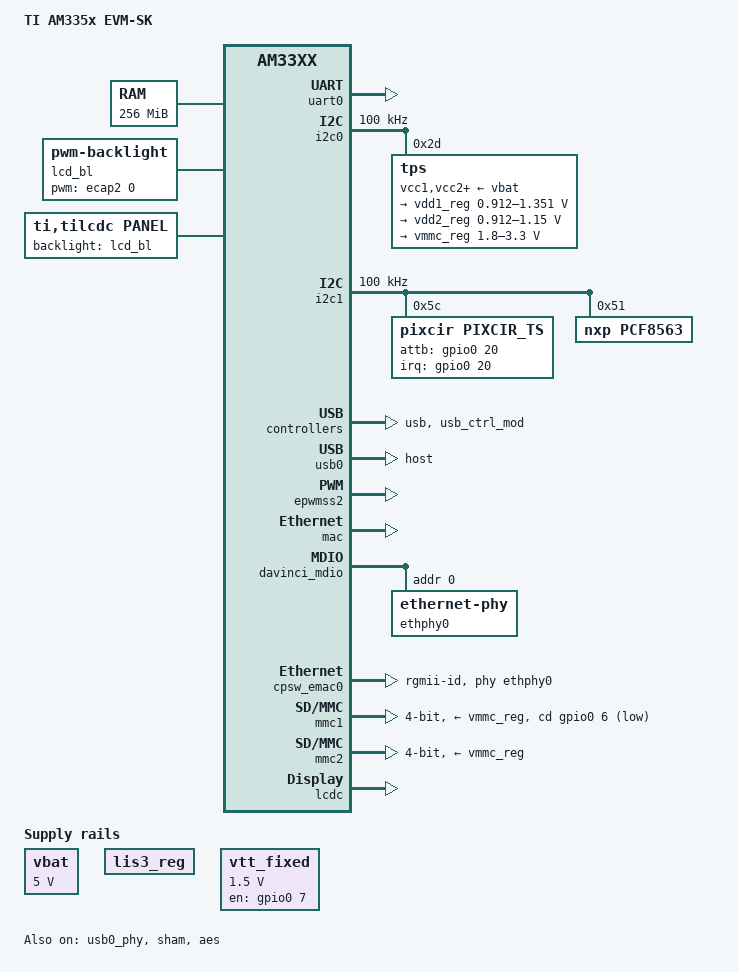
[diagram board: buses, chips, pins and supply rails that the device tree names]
// SPDX-License-Identifier: GPL-2.0-only
/*
 * Copyright (C) 2012 Texas Instruments Incorporated - http://www.ti.com/
 */

/*
 * AM335x Starter Kit
 * http://www.ti.com/tool/tmdssk3358
 */

/dts-v1/;

#include "am33xx.dtsi"
#include <dt-bindings/pwm/pwm.h>
#include <dt-bindings/interrupt-controller/irq.h>

/ {
	model = "TI AM335x EVM-SK";
	compatible = "ti,am335x-lierda", "ti,am33xx";

	cpus {
		cpu@0 {
			cpu0-supply = <&vdd1_reg>;
		};
	};

	memory@80000000 {
		device_type = "memory";
		reg = <0x80000000 0x10000000>; /* 256 MB */
	};

	chosen {
		stdout-path = &uart0;
	};

	vbat: fixedregulator0 {
		compatible = "regulator-fixed";
		regulator-name = "vbat";
		regulator-min-microvolt = <5000000>;
		regulator-max-microvolt = <5000000>;
		regulator-boot-on;
	};

	lis3_reg: fixedregulator1 {
		compatible = "regulator-fixed";
		regulator-name = "lis3_reg";
		regulator-boot-on;
	};

	vtt_fixed: fixedregulator3 {
		compatible = "regulator-fixed";
		regulator-name = "vtt";
		regulator-min-microvolt = <1500000>;
		regulator-max-microvolt = <1500000>;
		gpio = <&gpio0 7 GPIO_ACTIVE_HIGH>;
		regulator-always-on;
		regulator-boot-on;
		enable-active-high;
	};

	lcd_bl: backlight {
		compatible = "pwm-backlight";
		pwms = <&ecap2 0 50000 0>;
		brightness-levels = <0 51 53 56 62 75 101 152 255>;
		default-brightness-level = <8>;
	};

	// sound {
	// 	compatible = "simple-audio-card";
	// 	simple-audio-card,name = "AM335x-EVMSK";
	// 	simple-audio-card,widgets =
	// 		"Headphone", "Headphone Jack";
	// 	simple-audio-card,routing =
	// 		"Headphone Jack",	"HPLOUT",
	// 		"Headphone Jack",	"HPROUT";
	// 	simple-audio-card,format = "dsp_b";
	// 	simple-audio-card,bitclock-master = <&sound_master>;
	// 	simple-audio-card,frame-master = <&sound_master>;
	// 	simple-audio-card,bitclock-inversion;

	// 	simple-audio-card,cpu {
	// 		sound-dai = <&mcasp1>;
	// 	};

	// 	sound_master: simple-audio-card,codec {
	// 		sound-dai = <&tlv320aic3106>;
	// 		system-clock-frequency = <24000000>;
	// 	};
	// };

	panel {
		compatible = "ti,tilcdc,panel";
		pinctrl-names = "default", "sleep";
		pinctrl-0 = <&lcd_pins_default>;
		pinctrl-1 = <&lcd_pins_sleep>;
		backlight = <&lcd_bl>;
		status = "okay";
		panel-info {
			ac-bias		= <255>;
			ac-bias-intrpt	= <0>;
			dma-burst-sz	= <16>;
			bpp		= <24>;
			fdd		= <0x80>;
			sync-edge	= <0>;
			sync-ctrl	= <1>;
			raster-order	= <0>;
			fifo-th		= <0>;
		};
		display-timings {
			800x480 {
				clock-frequency = <30000000>;
				hactive = <800>;
				vactive = <480>;
				hfront-porch = <39>;
				hback-porch = <39>;
				hsync-len = <47>;
				vback-porch = <29>;
				vfront-porch = <13>;
				vsync-len = <2>;
				hsync-active = <1>;
				vsync-active = <1>;
			};
		};
	};
};

&am33xx_pinmux {
	// pinctrl-names = "default";
	// pinctrl-0 = <&clkout2_pin>;

	lcd_pins_default: lcd_pins_default {
		pinctrl-single,pins = <
			AM33XX_PADCONF(AM335X_PIN_GPMC_AD8, PIN_OUTPUT, MUX_MODE1)	/* gpmc_ad8.lcd_data23 */
			AM33XX_PADCONF(AM335X_PIN_GPMC_AD9, PIN_OUTPUT, MUX_MODE1)	/* gpmc_ad9.lcd_data22 */
			AM33XX_PADCONF(AM335X_PIN_GPMC_AD10, PIN_OUTPUT, MUX_MODE1)	/* gpmc_ad10.lcd_data21 */
			AM33XX_PADCONF(AM335X_PIN_GPMC_AD11, PIN_OUTPUT, MUX_MODE1)	/* gpmc_ad11.lcd_data20 */
			AM33XX_PADCONF(AM335X_PIN_GPMC_AD12, PIN_OUTPUT, MUX_MODE1)	/* gpmc_ad12.lcd_data19 */
			AM33XX_PADCONF(AM335X_PIN_GPMC_AD13, PIN_OUTPUT, MUX_MODE1)	/* gpmc_ad13.lcd_data18 */
			AM33XX_PADCONF(AM335X_PIN_GPMC_AD14, PIN_OUTPUT, MUX_MODE1)	/* gpmc_ad14.lcd_data17 */
			AM33XX_PADCONF(AM335X_PIN_GPMC_AD15, PIN_OUTPUT, MUX_MODE1)	/* gpmc_ad15.lcd_data16 */
			AM33XX_PADCONF(AM335X_PIN_LCD_DATA0, PIN_OUTPUT, MUX_MODE0)
			AM33XX_PADCONF(AM335X_PIN_LCD_DATA1, PIN_OUTPUT, MUX_MODE0)
			AM33XX_PADCONF(AM335X_PIN_LCD_DATA2, PIN_OUTPUT, MUX_MODE0)
			AM33XX_PADCONF(AM335X_PIN_LCD_DATA3, PIN_OUTPUT, MUX_MODE0)
			AM33XX_PADCONF(AM335X_PIN_LCD_DATA4, PIN_OUTPUT, MUX_MODE0)
			AM33XX_PADCONF(AM335X_PIN_LCD_DATA5, PIN_OUTPUT, MUX_MODE0)
			AM33XX_PADCONF(AM335X_PIN_LCD_DATA6, PIN_OUTPUT, MUX_MODE0)
			AM33XX_PADCONF(AM335X_PIN_LCD_DATA7, PIN_OUTPUT, MUX_MODE0)
			AM33XX_PADCONF(AM335X_PIN_LCD_DATA8, PIN_OUTPUT, MUX_MODE0)
			AM33XX_PADCONF(AM335X_PIN_LCD_DATA9, PIN_OUTPUT, MUX_MODE0)
			AM33XX_PADCONF(AM335X_PIN_LCD_DATA10, PIN_OUTPUT, MUX_MODE0)
			AM33XX_PADCONF(AM335X_PIN_LCD_DATA11, PIN_OUTPUT, MUX_MODE0)
			AM33XX_PADCONF(AM335X_PIN_LCD_DATA12, PIN_OUTPUT, MUX_MODE0)
			AM33XX_PADCONF(AM335X_PIN_LCD_DATA13, PIN_OUTPUT, MUX_MODE0)
			AM33XX_PADCONF(AM335X_PIN_LCD_DATA14, PIN_OUTPUT, MUX_MODE0)
			AM33XX_PADCONF(AM335X_PIN_LCD_DATA15, PIN_OUTPUT, MUX_MODE0)
			AM33XX_PADCONF(AM335X_PIN_LCD_VSYNC, PIN_OUTPUT, MUX_MODE0)
			AM33XX_PADCONF(AM335X_PIN_LCD_HSYNC, PIN_OUTPUT, MUX_MODE0)
			AM33XX_PADCONF(AM335X_PIN_LCD_PCLK, PIN_OUTPUT, MUX_MODE0)
			AM33XX_PADCONF(AM335X_PIN_LCD_AC_BIAS_EN, PIN_OUTPUT, MUX_MODE0)
		>;
	};

	lcd_pins_sleep: lcd_pins_sleep {
		pinctrl-single,pins = <
			AM33XX_PADCONF(AM335X_PIN_GPMC_AD8, PIN_INPUT_PULLDOWN, MUX_MODE7)	/* gpmc_ad8.lcd_data23 */
			AM33XX_PADCONF(AM335X_PIN_GPMC_AD9, PIN_INPUT_PULLDOWN, MUX_MODE7)	/* gpmc_ad9.lcd_data22 */
			AM33XX_PADCONF(AM335X_PIN_GPMC_AD10, PIN_INPUT_PULLDOWN, MUX_MODE7)	/* gpmc_ad10.lcd_data21 */
			AM33XX_PADCONF(AM335X_PIN_GPMC_AD11, PIN_INPUT_PULLDOWN, MUX_MODE7)	/* gpmc_ad11.lcd_data20 */
			AM33XX_PADCONF(AM335X_PIN_GPMC_AD12, PIN_INPUT_PULLDOWN, MUX_MODE7)	/* gpmc_ad12.lcd_data19 */
			AM33XX_PADCONF(AM335X_PIN_GPMC_AD13, PIN_INPUT_PULLDOWN, MUX_MODE7)	/* gpmc_ad13.lcd_data18 */
			AM33XX_PADCONF(AM335X_PIN_GPMC_AD14, PIN_INPUT_PULLDOWN, MUX_MODE7)	/* gpmc_ad14.lcd_data17 */
			AM33XX_PADCONF(AM335X_PIN_GPMC_AD15, PIN_INPUT_PULLDOWN, MUX_MODE7)	/* gpmc_ad15.lcd_data16 */
			AM33XX_PADCONF(AM335X_PIN_LCD_DATA0, PULL_DISABLE, MUX_MODE7)
			AM33XX_PADCONF(AM335X_PIN_LCD_DATA1, PULL_DISABLE, MUX_MODE7)
			AM33XX_PADCONF(AM335X_PIN_LCD_DATA2, PULL_DISABLE, MUX_MODE7)
			AM33XX_PADCONF(AM335X_PIN_LCD_DATA3, PULL_DISABLE, MUX_MODE7)
			AM33XX_PADCONF(AM335X_PIN_LCD_DATA4, PULL_DISABLE, MUX_MODE7)
			AM33XX_PADCONF(AM335X_PIN_LCD_DATA5, PULL_DISABLE, MUX_MODE7)
			AM33XX_PADCONF(AM335X_PIN_LCD_DATA6, PULL_DISABLE, MUX_MODE7)
			AM33XX_PADCONF(AM335X_PIN_LCD_DATA7, PULL_DISABLE, MUX_MODE7)
			AM33XX_PADCONF(AM335X_PIN_LCD_DATA8, PULL_DISABLE, MUX_MODE7)
			AM33XX_PADCONF(AM335X_PIN_LCD_DATA9, PULL_DISABLE, MUX_MODE7)
			AM33XX_PADCONF(AM335X_PIN_LCD_DATA10, PULL_DISABLE, MUX_MODE7)
			AM33XX_PADCONF(AM335X_PIN_LCD_DATA11, PULL_DISABLE, MUX_MODE7)
			AM33XX_PADCONF(AM335X_PIN_LCD_DATA12, PULL_DISABLE, MUX_MODE7)
			AM33XX_PADCONF(AM335X_PIN_LCD_DATA13, PULL_DISABLE, MUX_MODE7)
			AM33XX_PADCONF(AM335X_PIN_LCD_DATA14, PULL_DISABLE, MUX_MODE7)
			AM33XX_PADCONF(AM335X_PIN_LCD_DATA15, PULL_DISABLE, MUX_MODE7)
			AM33XX_PADCONF(AM335X_PIN_LCD_VSYNC, PIN_INPUT_PULLDOWN, MUX_MODE7)
			AM33XX_PADCONF(AM335X_PIN_LCD_HSYNC, PIN_INPUT_PULLDOWN, MUX_MODE7)
			AM33XX_PADCONF(AM335X_PIN_LCD_PCLK, PIN_INPUT_PULLDOWN, MUX_MODE7)
			AM33XX_PADCONF(AM335X_PIN_LCD_AC_BIAS_EN, PIN_INPUT_PULLDOWN, MUX_MODE7)
		>;
	};

	i2c0_pins: pinmux_i2c0_pins {
		pinctrl-single,pins = <
			AM33XX_PADCONF(AM335X_PIN_I2C0_SDA, PIN_INPUT_PULLUP, MUX_MODE0)
			AM33XX_PADCONF(AM335X_PIN_I2C0_SCL, PIN_INPUT_PULLUP, MUX_MODE0)
		>;
	};

	uart0_pins: pinmux_uart0_pins {
		pinctrl-single,pins = <
			AM33XX_PADCONF(AM335X_PIN_UART0_RXD, PIN_INPUT_PULLUP, MUX_MODE0)
			AM33XX_PADCONF(AM335X_PIN_UART0_TXD, PIN_OUTPUT_PULLDOWN, MUX_MODE0)
		>;
	};

	ecap2_pins: backlight_pins {
		pinctrl-single,pins = <
			AM33XX_PADCONF(AM335X_PIN_MCASP0_AHCLKR, 0x0, MUX_MODE4)	/* mcasp0_ahclkr.ecap2_in_pwm2_out */
		>;
	};

	cpsw_default: cpsw_default {
		pinctrl-single,pins = <
			/* Slave 1 */
			AM33XX_PADCONF(AM335X_PIN_MII1_TX_EN, PIN_OUTPUT_PULLDOWN, MUX_MODE2)	/* mii1_txen.rgmii1_tctl */
			AM33XX_PADCONF(AM335X_PIN_MII1_RX_DV, PIN_INPUT_PULLDOWN, MUX_MODE2)	/* mii1_rxdv.rgmii1_rctl */
			AM33XX_PADCONF(AM335X_PIN_MII1_TXD3, PIN_OUTPUT_PULLDOWN, MUX_MODE2)	/* mii1_txd3.rgmii1_td3 */
			AM33XX_PADCONF(AM335X_PIN_MII1_TXD2, PIN_OUTPUT_PULLDOWN, MUX_MODE2)	/* mii1_txd2.rgmii1_td2 */
			AM33XX_PADCONF(AM335X_PIN_MII1_TXD1, PIN_OUTPUT_PULLDOWN, MUX_MODE2)	/* mii1_txd1.rgmii1_td1 */
			AM33XX_PADCONF(AM335X_PIN_MII1_TXD0, PIN_OUTPUT_PULLDOWN, MUX_MODE2)	/* mii1_txd0.rgmii1_td0 */
			AM33XX_PADCONF(AM335X_PIN_MII1_TX_CLK, PIN_OUTPUT_PULLDOWN, MUX_MODE2)	/* mii1_txclk.rgmii1_tclk */
			AM33XX_PADCONF(AM335X_PIN_MII1_RX_CLK, PIN_INPUT_PULLDOWN, MUX_MODE2)	/* mii1_rxclk.rgmii1_rclk */
			AM33XX_PADCONF(AM335X_PIN_MII1_RXD3, PIN_INPUT_PULLDOWN, MUX_MODE2)	/* mii1_rxd3.rgmii1_rd3 */
			AM33XX_PADCONF(AM335X_PIN_MII1_RXD2, PIN_INPUT_PULLDOWN, MUX_MODE2)	/* mii1_rxd2.rgmii1_rd2 */
			AM33XX_PADCONF(AM335X_PIN_MII1_RXD1, PIN_INPUT_PULLDOWN, MUX_MODE2)	/* mii1_rxd1.rgmii1_rd1 */
			AM33XX_PADCONF(AM335X_PIN_MII1_RXD0, PIN_INPUT_PULLDOWN, MUX_MODE2)	/* mii1_rxd0.rgmii1_rd0 */
		>;
	};

	cpsw_sleep: cpsw_sleep {
		pinctrl-single,pins = <
			/* Slave 1 reset value */
			AM33XX_PADCONF(AM335X_PIN_MII1_TX_EN, PIN_INPUT_PULLDOWN, MUX_MODE7)
			AM33XX_PADCONF(AM335X_PIN_MII1_RX_DV, PIN_INPUT_PULLDOWN, MUX_MODE7)
			AM33XX_PADCONF(AM335X_PIN_MII1_TXD3, PIN_INPUT_PULLDOWN, MUX_MODE7)
			AM33XX_PADCONF(AM335X_PIN_MII1_TXD2, PIN_INPUT_PULLDOWN, MUX_MODE7)
			AM33XX_PADCONF(AM335X_PIN_MII1_TXD1, PIN_INPUT_PULLDOWN, MUX_MODE7)
			AM33XX_PADCONF(AM335X_PIN_MII1_TXD0, PIN_INPUT_PULLDOWN, MUX_MODE7)
			AM33XX_PADCONF(AM335X_PIN_MII1_TX_CLK, PIN_INPUT_PULLDOWN, MUX_MODE7)
			AM33XX_PADCONF(AM335X_PIN_MII1_RX_CLK, PIN_INPUT_PULLDOWN, MUX_MODE7)
			AM33XX_PADCONF(AM335X_PIN_MII1_RXD3, PIN_INPUT_PULLDOWN, MUX_MODE7)
			AM33XX_PADCONF(AM335X_PIN_MII1_RXD2, PIN_INPUT_PULLDOWN, MUX_MODE7)
			AM33XX_PADCONF(AM335X_PIN_MII1_RXD1, PIN_INPUT_PULLDOWN, MUX_MODE7)
			AM33XX_PADCONF(AM335X_PIN_MII1_RXD0, PIN_INPUT_PULLDOWN, MUX_MODE7)
		>;
	};

	davinci_mdio_default: davinci_mdio_default {
		pinctrl-single,pins = <
			/* MDIO */
			AM33XX_PADCONF(AM335X_PIN_MDIO, PIN_INPUT_PULLUP | SLEWCTRL_FAST, MUX_MODE0)
			AM33XX_PADCONF(AM335X_PIN_MDC, PIN_OUTPUT_PULLUP, MUX_MODE0)
		>;
	};

	davinci_mdio_sleep: davinci_mdio_sleep {
		pinctrl-single,pins = <
			/* MDIO reset value */
			AM33XX_PADCONF(AM335X_PIN_MDIO, PIN_INPUT_PULLDOWN, MUX_MODE7)
			AM33XX_PADCONF(AM335X_PIN_MDC, PIN_INPUT_PULLDOWN, MUX_MODE7)
		>;
	};

	mmc1_pins: pinmux_mmc1_pins {
		pinctrl-single,pins = <
			AM33XX_PADCONF(AM335X_PIN_SPI0_CS1, PIN_INPUT, MUX_MODE7) 		/* spi0_cs1.gpio0_6 */
			AM33XX_PADCONF(AM335X_PIN_MMC0_DAT0, PIN_INPUT_PULLUP, MUX_MODE0)
			AM33XX_PADCONF(AM335X_PIN_MMC0_DAT1, PIN_INPUT_PULLUP, MUX_MODE0)
			AM33XX_PADCONF(AM335X_PIN_MMC0_DAT2, PIN_INPUT_PULLUP, MUX_MODE0)
			AM33XX_PADCONF(AM335X_PIN_MMC0_DAT3, PIN_INPUT_PULLUP, MUX_MODE0)
			AM33XX_PADCONF(AM335X_PIN_MMC0_CMD, PIN_INPUT_PULLUP, MUX_MODE0)
			AM33XX_PADCONF(AM335X_PIN_MMC0_CLK, PIN_INPUT_PULLUP, MUX_MODE0)
			AM33XX_PADCONF(AM335X_PIN_MCASP0_ACLKR, PIN_INPUT, MUX_MODE4)		/* mcasp0_aclkr.mmc0_sdwp */
		>;
	};

	mcasp1_pins: mcasp1_pins {
		pinctrl-single,pins = <
			AM33XX_PADCONF(AM335X_PIN_MII1_CRS, PIN_INPUT_PULLDOWN, MUX_MODE4) /* mii1_crs.mcasp1_aclkx */
			AM33XX_PADCONF(AM335X_PIN_MII1_RX_ER, PIN_INPUT_PULLDOWN, MUX_MODE4) /* mii1_rxerr.mcasp1_fsx */
			AM33XX_PADCONF(AM335X_PIN_MII1_COL, PIN_OUTPUT_PULLDOWN, MUX_MODE4) /* mii1_col.mcasp1_axr2 */
			AM33XX_PADCONF(AM335X_PIN_RMII1_REF_CLK, PIN_INPUT_PULLDOWN, MUX_MODE4) /* rmii1_ref_clk.mcasp1_axr3 */
		>;
	};

	mcasp1_pins_sleep: mcasp1_pins_sleep {
		pinctrl-single,pins = <
			AM33XX_PADCONF(AM335X_PIN_MII1_CRS, PIN_INPUT_PULLDOWN, MUX_MODE7)
			AM33XX_PADCONF(AM335X_PIN_MII1_RX_ER, PIN_INPUT_PULLDOWN, MUX_MODE7)
			AM33XX_PADCONF(AM335X_PIN_MII1_COL, PIN_INPUT_PULLDOWN, MUX_MODE7)
			AM33XX_PADCONF(AM335X_PIN_RMII1_REF_CLK, PIN_INPUT_PULLDOWN, MUX_MODE7)
		>;
	};

	mmc2_pins: pinmux_mmc2_pins {
		pinctrl-single,pins = <
			AM33XX_PADCONF(AM335X_PIN_GPMC_WPN, PIN_INPUT_PULLUP, MUX_MODE7) /* gpmc_wpn.gpio0_31 */
			AM33XX_PADCONF(AM335X_PIN_GPMC_CSN1, PIN_INPUT_PULLUP, MUX_MODE2) /* gpmc_csn1.mmc1_clk */
			AM33XX_PADCONF(AM335X_PIN_GPMC_CSN2, PIN_INPUT_PULLUP, MUX_MODE2) /* gpmc_csn2.mmc1_cmd */
			AM33XX_PADCONF(AM335X_PIN_GPMC_AD0, PIN_INPUT_PULLUP, MUX_MODE1) /* gpmc_ad0.mmc1_dat0 */
			AM33XX_PADCONF(AM335X_PIN_GPMC_AD1, PIN_INPUT_PULLUP, MUX_MODE1) /* gpmc_ad1.mmc1_dat1 */
			AM33XX_PADCONF(AM335X_PIN_GPMC_AD2, PIN_INPUT_PULLUP, MUX_MODE1) /* gpmc_ad2.mmc1_dat2 */
			AM33XX_PADCONF(AM335X_PIN_GPMC_AD3, PIN_INPUT_PULLUP, MUX_MODE1) /* gpmc_ad3.mmc1_dat3 */
		>;
	};

    i2c1_pins: pinmux_i2c1_pins {
		pinctrl-single,pins = <
			AM33XX_PADCONF(AM335X_PIN_SPI0_D1, PIN_INPUT_PULLUP, MUX_MODE2)	/* spi0_d1.i2c1_sda */
			AM33XX_PADCONF(AM335X_PIN_SPI0_CS0, PIN_INPUT_PULLUP, MUX_MODE2)	/* spi0_cs0.i2c1_scl */
		>;
	};

    pixcir_ts_pins: pixcir_ts_pins {
		pinctrl-single,pins = <
			AM33XX_IOPAD(0x9b4, PIN_INPUT_PULLUP | MUX_MODE7) /* (D14) xdma_event_intr1.gpio0[20] */
		>;
	};
};

&uart0 {
	pinctrl-names = "default";
	pinctrl-0 = <&uart0_pins>;

	status = "okay";
};

&i2c0 {
	pinctrl-names = "default";
	pinctrl-0 = <&i2c0_pins>;

	status = "okay";
	clock-frequency = <100000>;

    tps: tps@2d {
		reg = <0x2d>;
	};
};

&i2c1 {
	pinctrl-names = "default";
	pinctrl-0 = <&i2c1_pins>;

	status = "okay";
	clock-frequency = <100000>;

    pixcir_ts: pixcir_ts@5c {
        compatible = "pixcir,pixcir_ts";
		pinctrl-names = "default";
		pinctrl-0 = <&pixcir_ts_pins>;
		reg = <0x5c>;
		interrupt-parent = <&gpio0>;
		interrupts = <20 0>;

		attb-gpio = <&gpio0 20 GPIO_ACTIVE_HIGH>;

        touchscreen-size-x = <800>;
        touchscreen-size-y = <480>;
    };

    pcf8563: pcf8563@51 {
        compatible = "nxp,pcf8563";
        reg = <0x51>;
    };
};

&usb {
	status = "okay";
};

&usb_ctrl_mod {
	status = "okay";
};

&usb0_phy {
	status = "okay";
};

&usb1_phy {
	status = "disabled";
};

&usb0 {
	status = "okay";
    dr_mode = "host";
};

&usb1 {
	status = "disabled";
	dr_mode = "host";
};

&cppi41dma  {
	status = "okay";
};

&epwmss2 {
	status = "okay";

	ecap2: ecap@100 {
		status = "okay";
		pinctrl-names = "default";
		pinctrl-0 = <&ecap2_pins>;
	};
};


#include "tps65910.dtsi"

&tps {
	vcc1-supply = <&vbat>;
	vcc2-supply = <&vbat>;
	vcc3-supply = <&vbat>;
	vcc4-supply = <&vbat>;
	vcc5-supply = <&vbat>;
	vcc6-supply = <&vbat>;
	vcc7-supply = <&vbat>;
	vccio-supply = <&vbat>;

	regulators {
		vrtc_reg: regulator@0 {
			regulator-always-on;
		};

		vio_reg: regulator@1 {
			regulator-always-on;
		};

		vdd1_reg: regulator@2 {
			/* VDD_MPU voltage limits 0.95V - 1.26V with +/-4% tolerance */
			regulator-name = "vdd_mpu";
			regulator-min-microvolt = <912500>;
			regulator-max-microvolt = <1351500>;
			regulator-boot-on;
			regulator-always-on;
		};

		vdd2_reg: regulator@3 {
			/* VDD_CORE voltage limits 0.95V - 1.1V with +/-4% tolerance */
			regulator-name = "vdd_core";
			regulator-min-microvolt = <912500>;
			regulator-max-microvolt = <1150000>;
			regulator-boot-on;
			regulator-always-on;
		};

		vdd3_reg: regulator@4 {
			regulator-always-on;
		};

		vdig1_reg: regulator@5 {
			regulator-always-on;
		};

		vdig2_reg: regulator@6 {
			regulator-always-on;
		};

		vpll_reg: regulator@7 {
			regulator-always-on;
		};

		vdac_reg: regulator@8 {
			regulator-always-on;
		};

		vaux1_reg: regulator@9 {
			regulator-always-on;
		};

		vaux2_reg: regulator@10 {
			regulator-always-on;
		};

		vaux33_reg: regulator@11 {
			regulator-always-on;
		};

		vmmc_reg: regulator@12 {
			regulator-min-microvolt = <1800000>;
			regulator-max-microvolt = <3300000>;
			regulator-always-on;
		};
	};
};

&mac {
	pinctrl-names = "default", "sleep";
	pinctrl-0 = <&cpsw_default>;
	pinctrl-1 = <&cpsw_sleep>;
	status = "okay";
};

&davinci_mdio {
	pinctrl-names = "default", "sleep";
	pinctrl-0 = <&davinci_mdio_default>;
	pinctrl-1 = <&davinci_mdio_sleep>;
	status = "okay";

	ethphy0: ethernet-phy@0 {
		reg = <0>;
	};
};

&cpsw_emac0 {
	phy-handle = <&ethphy0>;
	phy-mode = "rgmii-id";
};

&mmc1 {
	status = "okay";
	vmmc-supply = <&vmmc_reg>;
	bus-width = <4>;
	pinctrl-names = "default";
	pinctrl-0 = <&mmc1_pins>;
	cd-gpios = <&gpio0 6 GPIO_ACTIVE_LOW>;
};

&sham {
	status = "okay";
};

&aes {
	status = "okay";
};

&gpio0 {
	ti,no-reset-on-init;
};

&mmc2 {
	status = "okay";
	vmmc-supply = <&vmmc_reg>;
	ti,non-removable;
	bus-width = <4>;
	cap-power-off-card;
	keep-power-in-suspend;
	pinctrl-names = "default";
	pinctrl-0 = <&mmc2_pins>;
};

&lcdc {
	status = "okay";

	blue-and-red-wiring = "crossed";
};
